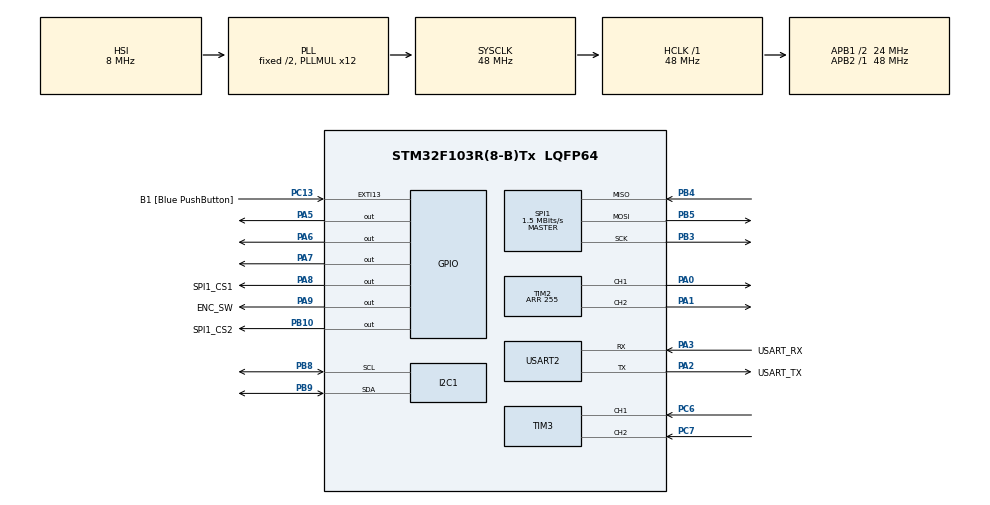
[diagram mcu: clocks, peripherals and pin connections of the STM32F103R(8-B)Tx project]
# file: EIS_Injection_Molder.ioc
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Mcu.Family=STM32F1
Mcu.Name=STM32F103R(8-B)Tx
Mcu.Package=LQFP64
NVIC.EXTI15_10_IRQn=true\:0\:0\:false\:false\:true\:true\:true\:true
NVIC.PriorityGroup=NVIC_PRIORITYGROUP_4
PA0-WKUP.Signal=S_TIM2_CH1_ETR
PA1.Signal=S_TIM2_CH2
PA13.GPIO_Label=TMS
PA13.Mode=Serial_Wire
PA13.Signal=SYS_JTMS-SWDIO
PA14.GPIO_Label=TCK
PA14.Mode=Serial_Wire
PA14.Signal=SYS_JTCK-SWCLK
PA2.GPIO_Label=USART_TX
PA2.GPIO_Mode=GPIO_MODE_AF_PP
PA2.GPIO_PuPd=GPIO_NOPULL
PA2.GPIO_Speed=GPIO_SPEED_FREQ_LOW
PA2.Mode=Asynchronous
PA2.Signal=USART2_TX
PA3.GPIO_Label=USART_RX
PA3.GPIO_Mode=GPIO_MODE_AF_PP
PA3.GPIO_PuPd=GPIO_NOPULL
PA3.GPIO_Speed=GPIO_SPEED_FREQ_LOW
PA3.Mode=Asynchronous
PA3.Signal=USART2_RX
PA5.Signal=GPIO_Output
PA6.Signal=GPIO_Output
PA7.Signal=GPIO_Output
PA8.GPIO_Label=SPI1_CS1
PA8.Signal=GPIO_Output
PA9.GPIO_Label=ENC_SW
PA9.Signal=GPIO_Output
PB10.GPIO_Label=SPI1_CS2
PB10.Signal=GPIO_Output
PB3.Mode=Full_Duplex_Master
PB3.Signal=SPI1_SCK
PB4.Mode=Full_Duplex_Master
PB4.Signal=SPI1_MISO
PB5.Mode=Full_Duplex_Master
PB5.Signal=SPI1_MOSI
PB8.Mode=I2C
PB8.Signal=I2C1_SCL
PB9.Mode=I2C
PB9.Signal=I2C1_SDA
PC13-TAMPER-RTC.GPIO_Label=B1 [Blue PushButton]
PC13-TAMPER-RTC.GPIO_PuPd=GPIO_NOPULL
PC13-TAMPER-RTC.Signal=GPXTI13
PC14-OSC32_IN.Mode=LSE-External-Oscillator
PC14-OSC32_IN.Signal=RCC_OSC32_IN
PC15-OSC32_OUT.Mode=LSE-External-Oscillator
PC15-OSC32_OUT.Signal=RCC_OSC32_OUT
PC6.Signal=S_TIM3_CH1
PC7.Signal=S_TIM3_CH2
PD0-OSC_IN.Mode=HSE-External-Clock-Source
PD0-OSC_IN.Signal=RCC_OSC_IN
PD1-OSC_OUT.Mode=HSE-External-Clock-Source
PD1-OSC_OUT.Signal=RCC_OSC_OUT
ProjectManager.HeapSize=0x200
ProjectManager.StackSize=0x400
ProjectManager.TargetToolchain=STM32CubeIDE
RCC.AHBFreq_Value=48000000
RCC.APB1CLKDivider=RCC_HCLK_DIV2
RCC.APB1Freq_Value=24000000
RCC.APB1TimFreq_Value=48000000
RCC.APB2Freq_Value=48000000
RCC.APB2TimFreq_Value=48000000
RCC.HCLKFreq_Value=48000000
RCC.PLLMUL=RCC_PLL_MUL12
RCC.RTCClockSelection=RCC_RTCCLKSOURCE_LSE
RCC.SYSCLKFreq_VALUE=48000000
RCC.SYSCLKSource=RCC_SYSCLKSOURCE_PLLCLK
RCC.USBFreq_Value=48000000
SH.S_TIM2_CH1_ETR.0=TIM2_CH1,PWM Generation1 CH1
SH.S_TIM2_CH2.0=TIM2_CH2,PWM Generation2 CH2
SH.S_TIM3_CH1.0=TIM3_CH1,Encoder_Interface
SH.S_TIM3_CH2.0=TIM3_CH2,Encoder_Interface
SPI1.BaudRatePrescaler=SPI_BAUDRATEPRESCALER_32
SPI1.CalculateBaudRate=1.5 MBits/s
SPI1.Direction=SPI_DIRECTION_2LINES
SPI1.Mode=SPI_MODE_MASTER
SPI1.VirtualType=VM_MASTER
TIM2.AutoReloadPreload=TIM_AUTORELOAD_PRELOAD_ENABLE
TIM2.Channel-PWM\ Generation1\ CH1=TIM_CHANNEL_1
TIM2.Channel-PWM\ Generation2\ CH2=TIM_CHANNEL_2
TIM2.Period=255
USART2.VirtualMode=VM_ASYNC
VP_TIM2_VS_ClockSourceINT.Mode=Internal
board=NUCLEO-F103RB

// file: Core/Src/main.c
/* USER CODE BEGIN Header */
/**
  ******************************************************************************
  * @file           : main.c
  * @brief          : Main program body
  * @author			: Tevin Poudrier
  ******************************************************************************
  * @attention
  *
  * Copyright (c) 2024 STMicroelectronics.
  * All rights reserved.
  *
  * This software is licensed under terms that can be found in the LICENSE file
  * in the root directory of this software component.
  * If no LICENSE file comes with this software, it is provided AS-IS.
  *
  ******************************************************************************
  */
/* USER CODE END Header */
#include "main.h"

/* USER CODE BEGIN Includes */
#include "encoder.h"
#include <stdio.h>
#include "LCD_I2C.h"
#include "LCD_Menu.h"
#include "LCD_Menu_Data.h"
#include "MAX31855.h"
#include <string.h>

/* USER CODE END Includes */

/* USER CODE BEGIN PTD */

typedef struct __plastic {
	char name[21]; //name can only be 20 characters long, extra byte for null character
	uint16_t nozzleTemp;
	uint16_t barrelTemp;
	uint32_t heatingTime; //heating time in ms
} Plastic_Type;

/* USER CODE END PTD */

/* USER CODE BEGIN PD */
#define LCD_ADDRESS 0x20
/* USER CODE END PD */

I2C_HandleTypeDef hi2c1;

SPI_HandleTypeDef hspi1;

TIM_HandleTypeDef htim2;
TIM_HandleTypeDef htim3;

UART_HandleTypeDef huart2;

/* USER CODE BEGIN PV */
ENC_Handle encoder;

LCD_HandleTypeDef hlcd;

MAX31855_HandleTypeDef hmax1;
MAX31855_HandleTypeDef hmax2;

/* USER CODE END PV */

void SystemClock_Config(void);
static void MX_GPIO_Init(void);
static void MX_USART2_UART_Init(void);
static void MX_I2C1_Init(void);
static void MX_SPI1_Init(void);
static void MX_TIM2_Init(void);
static void MX_TIM3_Init(void);
/* USER CODE BEGIN PFP */
uint16_t getTemperature (MAX31855_HandleTypeDef* thermocouple, uint16_t tempBuffer[], uint8_t * count, uint8_t size);
void printHomeDisplayData (uint8_t injectState, Plastic_Type* plastic);

/* USER CODE END PFP */

/* USER CODE BEGIN 0 */

//Counter increments every ms by interupts
volatile uint32_t counter = 0;

//Save counter time to create non-blocking delays
uint32_t prevCountPrintDebug;
uint32_t prevCountInjectTime;
uint32_t prevCountLED;

//Create main menu
LCD_MENU_List mainMenu;
LCD_MENU_List mainMenu2;

//Create menu items
LCD_MENU_Item homeDisplay;
LCD_MENU_Item debugMenu;
LCD_MENU_Item temperatureMenu;
LCD_MENU_Item injectControlMenu;
LCD_MENU_Item injectControlMenu2;
LCD_MENU_Item cancelInjectionMenu;
LCD_MENU_Item creditsMenu;
LCD_MENU_Item customPlasticMenu;
LCD_MENU_Item temperatureMenu2;

//Create data elements for menu
LCD_MENU_Data setNozzleTemp;
LCD_MENU_Data setBarrelTemp;
LCD_MENU_Data barrelTemp;
LCD_MENU_Data nozzleTemp;
LCD_MENU_Data heatEnable;
LCD_MENU_Data pistonEnable;
LCD_MENU_Data doorEnable;
LCD_MENU_Data ledEnable;
LCD_MENU_Data heatingSpeed;
LCD_MENU_Data injectionEnable;
LCD_MENU_Data customSetBarrelTemp;
LCD_MENU_Data customSetNozzleTemp;
LCD_MENU_Data customMeltTime;

//Create plastic types
Plastic_Type plastics [5];
Plastic_Type * plastic_HDPE = &plastics[0];
Plastic_Type* plastic_PP = &plastics[1];
Plastic_Type* plastic_PLA = &plastics[2];
Plastic_Type* plastic_ABS = &plastics[3];
Plastic_Type* plastic_custom = &plastics[4];

/* USER CODE END 0 */

int main(void)
{
  /* USER CODE BEGIN 1 */
	uint8_t MSG[100] = {'\0'};

	//Ring/Round buffer for temperature data averaging
	uint8_t thermoBufferSize = 10;
	uint16_t thermo1Buffer[10] = {0};
	uint8_t thermo1BufferCount = 0;
	uint16_t thermo2Buffer[10] = {0};
	uint8_t thermo2BufferCount = 0;

	char * hometxt[4] =
	{
			"Nozzle          /",
			"Barrel          /",
			"",
			""
	};

	char * debugTxt[4] =
	{
			"^..",
			"Piston",
			"H Door",
			""
	};

	char * temperatureTxt[4] =
	{
			"^..",
			"Set Nozzle",
			"Set Barrel",
			"Heating"
	};

	char * temperatureTxt2[4] =
	{
			"Speed (0-255)",
			"",
			"",
			""
	};

	char * injectionSelection1Txt[4] =
	{
			"^..",
			"HDPE",
			"PP",
			"PLA"
	};

	char * injectionSelection2Txt[4] =
	{
			"ABS",
			"Custom",
			"",
			""
	};

	char * cancelInjectionTxt[4] =
	{
			"Cancel Injection?",
			"Yes",
			"No",
			""
	};

	char * customPlasticTxt[4] =
	{
			"^..",
			"Nozzle:",
			"Barrel:",
			"Time (m):"
	};

	char * credits[4] =
	{
			"Tevin Poudrier",
			"Jonah Shadley",
			"Colson Miller",
			"Josiah Mart"
	};

  /* USER CODE END 1 */

  /* MCU Configuration--------------------------------------------------------*/

  /* Reset of all peripherals, Initializes the Flash interface and the Systick. */
  HAL_Init();

  /* Configure the system clock */
  SystemClock_Config();

  /* USER CODE BEGIN SysInit */
  SysTick_Config(SystemCoreClock / 1000); //set to 1ms per tick

  /* USER CODE END SysInit */

  /* Initialize all configured peripherals */
  MX_GPIO_Init();
  MX_USART2_UART_Init();
  MX_I2C1_Init();
  MX_SPI1_Init();
  MX_TIM2_Init();
  MX_TIM3_Init();
  /* USER CODE BEGIN 2 */

  //Define Plastics
  plastic_HDPE->nozzleTemp = 220;
  plastic_HDPE->barrelTemp = 210;
  plastic_HDPE->heatingTime = 1200000; // heatTime in ms
  strcpy(plastic_HDPE->name, "HDPE");

  plastic_PP->nozzleTemp = 245;
  plastic_PP->barrelTemp = 238;
  plastic_PP->heatingTime = 1200000; // heatTime in ms
  strcpy(plastic_PP->name, "PP");

  plastic_PLA->nozzleTemp = 210;
  plastic_PLA->barrelTemp = 200;
  plastic_PLA->heatingTime = 1200000; // heatTime in ms
  strcpy(plastic_PLA->name, "PLA");

  plastic_ABS->nozzleTemp = 230;
  plastic_ABS->barrelTemp = 220;
  plastic_ABS->heatingTime = 1200000; // heatTime in ms
  strcpy(plastic_ABS->name, "ABS");

  plastic_custom->nozzleTemp = 220;
  plastic_custom->barrelTemp = 210;
  plastic_custom->heatingTime = 1200000; // heatTime in ms
  strcpy(plastic_custom->name, "Custom");

  //Initalize peripherials
  ENC_Init(&encoder,  &htim3, GPIOA, GPIO_PIN_9);
  LCD_Init(&hlcd, &hi2c1, LCD_ADDRESS);
  MAX_Init(&hmax1, &hspi1, GPIO_PIN_8, GPIOA);
  MAX_Init(&hmax2, &hspi1, GPIO_PIN_10, GPIOB);
  HAL_TIM_PWM_Start(&htim2, TIM_CHANNEL_1); //Nozzle heater
  HAL_TIM_PWM_Start(&htim2, TIM_CHANNEL_2); //Barrel heater

  //Initalize Menu Lists
  LCD_MENU_ListInit(&hlcd, &mainMenu);
  LCD_MENU_ListInit(&hlcd, &mainMenu2);
  LCD_MENU_ExtendList(&mainMenu, &mainMenu2);

  //Initialize Data Elements
  LCD_MENU_DataInit(&setNozzleTemp, &hlcd);
  LCD_MENU_DataInit(&setBarrelTemp, &hlcd);
  LCD_MENU_DataInit(&nozzleTemp, &hlcd);
  LCD_MENU_DataInit(&barrelTemp, &hlcd);
  LCD_MENU_DataInit(&heatEnable, &hlcd);
  LCD_MENU_DataInit(&pistonEnable, &hlcd);
  LCD_MENU_DataInit(&doorEnable, &hlcd);
  LCD_MENU_DataInit(&ledEnable, &hlcd);
  LCD_MENU_DataInit(&injectionEnable, &hlcd);
  LCD_MENU_DataInit(&customSetBarrelTemp, &hlcd);
  LCD_MENU_DataInit(&customSetNozzleTemp, &hlcd);
  LCD_MENU_DataInit(&customMeltTime, &hlcd);
  LCD_MENU_DataInit(&heatingSpeed, &hlcd);

  //Initialize Menu Items
  LCD_MENU_ItemInit(&hlcd, &homeDisplay, "Home", hometxt, ITEM_TYPE_DISPLAY);
  LCD_MENU_ItemInit(&hlcd, &debugMenu, "Debug", debugTxt, ITEM_TYPE_CONFIG);
  LCD_MENU_ItemInit(&hlcd, &temperatureMenu, "Temperature", temperatureTxt, ITEM_TYPE_CONFIG);
  LCD_MENU_ItemInit(&hlcd, &temperatureMenu2, "Temperature", temperatureTxt2, ITEM_TYPE_CONFIG);
  LCD_MENU_ItemInit(&hlcd, &injectControlMenu, "Start Injection", injectionSelection1Txt, ITEM_TYPE_CONFIG);
  LCD_MENU_ItemInit(&hlcd, &injectControlMenu2, "Start Injection", injectionSelection2Txt, ITEM_TYPE_CONFIG);
  LCD_MENU_ItemInit(&hlcd, &cancelInjectionMenu, "CancelInjection", cancelInjectionTxt, ITEM_TYPE_CONFIG);
  LCD_MENU_ItemInit(&hlcd, &creditsMenu, "Credits", credits, ITEM_TYPE_DISPLAY);
  LCD_MENU_ItemInit(&hlcd, &customPlasticMenu, "Custom Plastic", customPlasticTxt, ITEM_TYPE_CONFIG);

  //Add data items to Debug menu
  LCD_MENU_ItemAddData(&debugMenu, &pistonEnable, 1, ITEM_ACTION_TOGGLE);
  LCD_MENU_ItemAddData(&debugMenu, &doorEnable, 2, ITEM_ACTION_TOGGLE);
  LCD_MENU_ItemSetAction(&debugMenu, 0, ITEM_ACTION_RETURN); //return to main menu

  //Add data items to temperature menu
  LCD_MENU_ExtendItem(&temperatureMenu, &temperatureMenu2);
  LCD_MENU_ItemAddData(&temperatureMenu, &setNozzleTemp, 1, ITEM_ACTION_DATA);
  LCD_MENU_ItemAddData(&temperatureMenu, &heatEnable, 3, ITEM_ACTION_TOGGLE);
  LCD_MENU_ItemAddData(&temperatureMenu, &setBarrelTemp, 2, ITEM_ACTION_DATA);
  LCD_MENU_ItemSetAction(&temperatureMenu, 0, ITEM_ACTION_RETURN);
  LCD_MENU_ItemAddData(&temperatureMenu2, &heatingSpeed, 0, ITEM_ACTION_DATA);

  //Add data items to injection menu
  LCD_MENU_ExtendItem(&injectControlMenu, &injectControlMenu2);
  LCD_MENU_ItemSetAction(&injectControlMenu, 0, ITEM_ACTION_RETURN);
  LCD_MENU_ItemSetAction(&injectControlMenu, 1, ITEM_ACTION_SELECT);
  LCD_MENU_ItemSetAction(&injectControlMenu, 2, ITEM_ACTION_SELECT);
  LCD_MENU_ItemSetAction(&injectControlMenu, 3, ITEM_ACTION_SELECT);
  LCD_MENU_ItemSetAction(&injectControlMenu2, 0, ITEM_ACTION_SELECT);
  LCD_MENU_ItemSetAction(&injectControlMenu2, 1, ITEM_ACTION_SELECT);

  //Add actions to cancel menu
  LCD_MENU_ItemSetAction(&cancelInjectionMenu, 1, ITEM_ACTION_SELECT);
  LCD_MENU_ItemSetAction(&cancelInjectionMenu, 2, ITEM_ACTION_SELECT);

  //Add actions to custom plastic menu
  LCD_MENU_ItemSetAction(&customPlasticMenu, 0, ITEM_ACTION_RETURN);
  LCD_MENU_ItemAddData(&customPlasticMenu, &customSetNozzleTemp, 1, ITEM_ACTION_DATA); //set temp
  LCD_MENU_ItemAddData(&customPlasticMenu, &customSetBarrelTemp, 2, ITEM_ACTION_DATA); // heating on/off
  LCD_MENU_ItemAddData(&customPlasticMenu, &customMeltTime, 3, ITEM_ACTION_DATA); // heating speed

  //Add menu items to main menu
  LCD_MENU_AddItemToList(&mainMenu, &homeDisplay);
  LCD_MENU_AddItemToList(&mainMenu, &injectControlMenu);
  LCD_MENU_AddItemToList(&mainMenu, &customPlasticMenu);
  LCD_MENU_AddItemToList(&mainMenu, &temperatureMenu);
  LCD_MENU_AddItemToList(&mainMenu2, &debugMenu);
  LCD_MENU_AddItemToList(&mainMenu2, &creditsMenu);

  sprintf( (char*) MSG, "EIS Injection Molding\n\r");
  HAL_UART_Transmit(&huart2, MSG, strlen( (char*) MSG), 100);

  //Initialize state machines
  uint8_t menuState = ST_MENU;
  uint8_t injectState = ST_STANDBY;
  uint8_t cancelRequest = LOW;

  //Initialize current object pointers
  LCD_MENU_List* headList = &mainMenu;
  LCD_MENU_List* currentList = headList;
  LCD_MENU_Item* currentItem = &homeDisplay;
  Plastic_Type* currentPlastic = plastic_HDPE;

  //set default temperatures
  setNozzleTemp.value = 220; //set temp to 5
  setBarrelTemp.value = 210;
  heatingSpeed.value = 210; // heat bands duty cycle 0-255
  customSetBarrelTemp.value = 200;
  customSetNozzleTemp.value = 200;
  customMeltTime.value = 20;

  LCD_MENU_PrintList (headList);

  /* USER CODE END 2 */

  /* Infinite loop */
  /* USER CODE BEGIN WHILE */
  while (1)
  {
	  //update custom plastic
	  plastic_custom->barrelTemp = customSetBarrelTemp.value;
	  plastic_custom ->nozzleTemp = customSetNozzleTemp.value;
	  plastic_custom->heatingTime = customMeltTime.value * 60 * 1000;

	  if (heatingSpeed.value > 255) {
		  heatingSpeed.value = 255;
	  }

	  //Navigate main menu
	  if (menuState == ST_MENU) {
		  //Select menu item
		  if (ENC_ReadSwitch(&encoder) == HIGH) {
			  menuState = ST_ITEM;
			  currentItem = currentList->items[currentList->cursor];
			  LCD_MENU_PrintItem(currentItem);
		  }
		  //Move cursor
		  else if (ENC_CountChange(&encoder) == TRUE) {
			  uint8_t direction = ENC_GetDirection(&encoder);
			  currentList = LCD_MENU_MoveListCursor(currentList, direction);
		  }
	  }
	  //Navigate menu item
	  else if (menuState == ST_ITEM) {
		  //print home display
		  if (currentItem == &homeDisplay) {
			  printHomeDisplayData(injectState, currentPlastic);
		  }
		  //update data on display menu item
		  else if (currentItem->type == ITEM_TYPE_DISPLAY) {
			  LCD_MENU_UpdateItemData(currentItem);
		  }

		  //Select cursor location
		  if (ENC_ReadSwitch(&encoder) == HIGH) {
			  //Return to main menu
			  if (currentItem->type == ITEM_TYPE_DISPLAY) {

				  menuState = ST_MENU;
				  LCD_MENU_PrintList (currentList);
			  }
			  //return to main menu
			  else if (currentItem->rowType[currentItem->cursor] == ITEM_ACTION_RETURN) {
				  menuState = ST_MENU;
				  LCD_MENU_PrintList (currentList);
			  }
			  //Edit data
			  else if (currentItem->rowType[currentItem->cursor] == ITEM_ACTION_DATA) {
				  menuState = ST_DATA;
			  }
			  //Toggle data
			  else if (currentItem->rowType[currentItem->cursor] == ITEM_ACTION_TOGGLE) {
				  LCD_MENU_DataToggle(currentItem->dataElement[currentItem->cursor]);
				  LCD_MENU_UpdateItemData(currentItem);
			  }
			  //Select injection profile
			  else if (currentItem->rowType[currentItem->cursor] == ITEM_ACTION_SELECT) {
				  if(currentItem == &injectControlMenu) {
					  currentPlastic = &plastics[currentItem->cursor - 1];
				  }
				  else {
					  //prevent null plastic from being selected
					  if (injectControlMenu2.cursor < 2) {
					  currentPlastic = &plastics[currentItem->cursor + 3];
					  }
				  }

				  //Start injection process
				  menuState = ST_INJECT;
				  injectState = ST_HEAT;

				  //Print home display
				  currentItem = &homeDisplay;
				  LCD_MENU_PrintItem(&homeDisplay);
			  }

		  }
		  //Move cursor
		  else if (ENC_CountChange(&encoder) == TRUE) {
			  uint8_t direction = ENC_GetDirection(&encoder);
			  currentItem = LCD_MENU_MoveItemCursor(currentItem, direction);
		  }
	  }
	  //Editing Data
	  else if (menuState == ST_DATA) {
		  LCD_SetCursor(&hlcd, 16, currentItem->cursor);
		  LCD_Print(&hlcd, ">");

		  //Stop editing data
		  if (ENC_ReadSwitch(&encoder) == HIGH) {
			  menuState = ST_ITEM;
			  LCD_SetCursor(&hlcd, 16, currentItem->cursor);
			  LCD_Print(&hlcd, " ");
		  }
		  //Increment data based on encoder direction
		  else if (ENC_CountChange(&encoder) == TRUE) {
			  LCD_MENU_DataIncrement(currentItem->dataElement[currentItem->cursor], ENC_GetDirection(&encoder));
			  LCD_MENU_UpdateItemData(currentItem);
		  }
	  }

	  /**
	   * Injection Process active
	   * Lock display on home info screen
	   * User can cancel procces by pressing encoder button and confirming
	   */
	  else if (menuState == ST_INJECT) {
		  uint8_t switchValue = ENC_ReadSwitch(&encoder);

		  //Request to cancel injection
		  if (switchValue && cancelRequest == LOW) {
			  cancelRequest = HIGH;
			  currentItem = &cancelInjectionMenu;
			  LCD_MENU_PrintItem(currentItem);
		  }
		  //Select Yes or no to cancel injection
		  else if (switchValue && cancelRequest == HIGH) {
			  //cancel
			  if (currentItem->cursor == 1) {
				  cancelRequest = LOW;
				  menuState = ST_MENU;
				  injectState = ST_STANDBY;
				  LCD_MENU_PrintList(headList);
				  heatEnable.value = LOW;
			  }
			  //do not cancel
			  else if (currentItem->cursor == 2) {
				  cancelRequest = LOW;
				  currentItem = &homeDisplay;
				  LCD_MENU_PrintItem(currentItem);
			  }

		  }
		  //Navigate cancelation menu
		  else if (cancelRequest == HIGH) {
			  if (ENC_CountChange(&encoder) == TRUE) {
				  uint8_t direction = ENC_GetDirection(&encoder);
				  currentItem = LCD_MENU_MoveItemCursor(currentItem, direction);
			  }
		  }
		  else {
			  //update display
			  printHomeDisplayData(injectState, currentPlastic);
		  }
	  }

	  //Injection Process Control
	  switch (injectState) {
	  //wating to inject
	  case ST_STANDBY:
		  injectionEnable.value = LOW;
		  prevCountInjectTime = counter;
		  break;

	  //heating
	  case ST_HEAT:
		  setNozzleTemp.value = currentPlastic->nozzleTemp;
		  setBarrelTemp.value = currentPlastic->barrelTemp;
		  heatEnable.value = HIGH;

		  //heating complete
		  if (nozzleTemp.value >= currentPlastic->nozzleTemp && barrelTemp.value >= currentPlastic->barrelTemp) {
			  injectState = ST_INSERT;
			  prevCountInjectTime = counter;

			  //turn off heat bands
			  TIM2->CCR2 = 0;
			  TIM2->CCR1 = 0;
		  }

		  else {
			  //turn off heat bands
			  TIM2->CCR2 = 0;
			  TIM2->CCR1 = 0;
		  }
		  break;

	  //insert plastc, hold door open for 10 seconds
	  case ST_INSERT:
		  doorEnable.value = HIGH;
		  if (counter - prevCountInjectTime > 10000) {
			  injectState = ST_MELTING;
			  prevCountInjectTime = counter;
			  doorEnable.value = LOW;
		  }

		  break;

	  //melting plastic
	  case ST_MELTING:
		  if (counter - prevCountInjectTime > currentPlastic->heatingTime) {
			  injectState = ST_INJECT_PLASTIC;
			  prevCountInjectTime = counter;
		  }
		  break;

	  //inject plastic
	  case ST_INJECT_PLASTIC:
		  pistonEnable.value = HIGH;
		  if (counter - prevCountInjectTime > 60000) {
			  injectState = ST_STANDBY;
			  menuState = ST_ITEM;
			  prevCountInjectTime = counter;
			  pistonEnable.value = LOW;
			  heatEnable.value = LOW;
		  }
		  break;

	  }

	  nozzleTemp.value = getTemperature(&hmax1, thermo1Buffer, &thermo1BufferCount, thermoBufferSize);
	  barrelTemp.value = getTemperature(&hmax2, thermo2Buffer, &thermo2BufferCount, thermoBufferSize);

	  //Heating
	  if (heatEnable.value == HIGH) {

		  //turn on nozzle heat bands if below set temp
		  if (nozzleTemp.value < setNozzleTemp.value) {
			  TIM2->CCR1 = (uint8_t) heatingSpeed.value;

		  }
		  //turn off nozzle heater
		  else {
			  TIM2->CCR1 = 0;
			  if (injectState == ST_STANDBY) {
				  heatEnable.value = LOW;
			  }
		  }

		  //turn on barrel heat bands if below set temp
		  if (barrelTemp.value < setBarrelTemp.value) {
			  TIM2->CCR2 = (uint8_t) heatingSpeed.value;
		  }
		  //turn off barrel heater
		  else {
			  TIM2->CCR2 = 0;

			  if (injectState == ST_STANDBY) {
				  heatEnable.value = LOW;
			  }

		  }
	  }

	  //turn off heat bands
	  else {
		  TIM2->CCR2 = 0;
		  TIM2->CCR1 = 0;
	  }

	  //Status LED
	  if (injectState != ST_STANDBY) {

		  //blink LED during injection process
		  if (counter - prevCountLED > 500) {
			  ledEnable.value = !ledEnable.value & 0x1; //toggle LED
			  prevCountLED = counter;
		  }
	  }
	  else {
		  //LED on if machine is hot
		  if (nozzleTemp.value > 40 || barrelTemp.value > 40) {
			  ledEnable.value = HIGH;
		  }
		  else {
			  ledEnable.value = LOW;
		  }
	  }

	  //Update GPIO values;
	  HAL_GPIO_WritePin(GPIOA, GPIO_PIN_5, ledEnable.value);
	  HAL_GPIO_WritePin(GPIOA, GPIO_PIN_7, doorEnable.value);
	  HAL_GPIO_WritePin(GPIOA, GPIO_PIN_6, pistonEnable.value);

	  HAL_Delay(10);

	  //Print debug messages to com port
	  if (counter - prevCountPrintDebug > 1000) {
		  if (heatEnable.value == HIGH) {
			  if (currentPlastic->nozzleTemp > nozzleTemp.value) {
				  nozzleTemp.value++;
			  }
			  if (currentPlastic->barrelTemp > barrelTemp.value) {
				  barrelTemp.value++;
			  }
		  }

		  sprintf( (char*) MSG, "----Application state: %d----\r\n", menuState);
		  HAL_UART_Transmit(&huart2, MSG, strlen( (char*) MSG), 100);

		  sprintf( (char*) MSG, "Injection state: %d\r\n", injectState);
		  HAL_UART_Transmit(&huart2, MSG, strlen( (char*) MSG), 100);

		  sprintf( (char*) MSG, "LED: %d, Door: %d, Piston: %d\r\n", ledEnable.value, doorEnable.value, pistonEnable.value);
		  HAL_UART_Transmit(&huart2, MSG, strlen( (char*) MSG), 100);

		  sprintf( (char*) MSG, "HeatEN: %d, nozzle: %d, barrel: %d, heatSpeed: %d\r\n", heatEnable.value, nozzleTemp.value, barrelTemp.value, heatingSpeed.value);
		  HAL_UART_Transmit(&huart2, MSG, strlen( (char*) MSG), 100);

		  sprintf( (char*) MSG, "Set temps, nozzle: %d, barrel: %d\r\n", currentPlastic->nozzleTemp, currentPlastic->barrelTemp);
		  HAL_UART_Transmit(&huart2, MSG, strlen( (char*) MSG), 100);

		  sprintf( (char*) MSG, "Count-prevInjectCount: %lu, wait time: %lu\r\n\n", counter - prevCountInjectTime, currentPlastic->heatingTime );
		  HAL_UART_Transmit(&huart2, MSG, strlen( (char*) MSG), 100);
		  prevCountPrintDebug = counter;
	  }

    /* USER CODE END WHILE */

  }
}

void SystemClock_Config(void)
{
  RCC_OscInitTypeDef RCC_OscInitStruct = {0};
  RCC_ClkInitTypeDef RCC_ClkInitStruct = {0};

  /** Initializes the RCC Oscillators according to the specified parameters
  * in the RCC_OscInitTypeDef structure.
  */
  RCC_OscInitStruct.OscillatorType = RCC_OSCILLATORTYPE_HSI;
  RCC_OscInitStruct.HSIState = RCC_HSI_ON;
  RCC_OscInitStruct.HSICalibrationValue = RCC_HSICALIBRATION_DEFAULT;
  RCC_OscInitStruct.PLL.PLLState = RCC_PLL_ON;
  RCC_OscInitStruct.PLL.PLLSource = RCC_PLLSOURCE_HSI_DIV2;
  RCC_OscInitStruct.PLL.PLLMUL = RCC_PLL_MUL12;
  if (HAL_RCC_OscConfig(&RCC_OscInitStruct) != HAL_OK)
  {
    Error_Handler();
  }

  /** Initializes the CPU, AHB and APB buses clocks
  */
  RCC_ClkInitStruct.ClockType = RCC_CLOCKTYPE_HCLK|RCC_CLOCKTYPE_SYSCLK
                              |RCC_CLOCKTYPE_PCLK1|RCC_CLOCKTYPE_PCLK2;
  RCC_ClkInitStruct.SYSCLKSource = RCC_SYSCLKSOURCE_PLLCLK;
  RCC_ClkInitStruct.AHBCLKDivider = RCC_SYSCLK_DIV1;
  RCC_ClkInitStruct.APB1CLKDivider = RCC_HCLK_DIV2;
  RCC_ClkInitStruct.APB2CLKDivider = RCC_HCLK_DIV1;

  if (HAL_RCC_ClockConfig(&RCC_ClkInitStruct, FLASH_LATENCY_1) != HAL_OK)
  {
    Error_Handler();
  }
}

static void MX_I2C1_Init(void)
{

  hi2c1.Instance = I2C1;
  hi2c1.Init.ClockSpeed = 100000;
  hi2c1.Init.DutyCycle = I2C_DUTYCYCLE_2;
  hi2c1.Init.OwnAddress1 = 0;
  hi2c1.Init.AddressingMode = I2C_ADDRESSINGMODE_7BIT;
  hi2c1.Init.DualAddressMode = I2C_DUALADDRESS_DISABLE;
  hi2c1.Init.OwnAddress2 = 0;
  hi2c1.Init.GeneralCallMode = I2C_GENERALCALL_DISABLE;
  hi2c1.Init.NoStretchMode = I2C_NOSTRETCH_DISABLE;
  if (HAL_I2C_Init(&hi2c1) != HAL_OK)
  {
    Error_Handler();
  }

}

static void MX_SPI1_Init(void)
{

  /* SPI1 parameter configuration*/
  hspi1.Instance = SPI1;
  hspi1.Init.Mode = SPI_MODE_MASTER;
  hspi1.Init.Direction = SPI_DIRECTION_2LINES;
  hspi1.Init.DataSize = SPI_DATASIZE_8BIT;
  hspi1.Init.CLKPolarity = SPI_POLARITY_LOW;
  hspi1.Init.CLKPhase = SPI_PHASE_1EDGE;
  hspi1.Init.NSS = SPI_NSS_SOFT;
  hspi1.Init.BaudRatePrescaler = SPI_BAUDRATEPRESCALER_32;
  hspi1.Init.FirstBit = SPI_FIRSTBIT_MSB;
  hspi1.Init.TIMode = SPI_TIMODE_DISABLE;
  hspi1.Init.CRCCalculation = SPI_CRCCALCULATION_DISABLE;
  hspi1.Init.CRCPolynomial = 10;
  if (HAL_SPI_Init(&hspi1) != HAL_OK)
  {
    Error_Handler();
  }

}

static void MX_TIM2_Init(void)
{

  TIM_ClockConfigTypeDef sClockSourceConfig = {0};
  TIM_MasterConfigTypeDef sMasterConfig = {0};
  TIM_OC_InitTypeDef sConfigOC = {0};

  htim2.Instance = TIM2;
  htim2.Init.Prescaler = 0;
  htim2.Init.CounterMode = TIM_COUNTERMODE_UP;
  htim2.Init.Period = 255;
  htim2.Init.ClockDivision = TIM_CLOCKDIVISION_DIV1;
  htim2.Init.AutoReloadPreload = TIM_AUTORELOAD_PRELOAD_ENABLE;
  if (HAL_TIM_Base_Init(&htim2) != HAL_OK)
  {
    Error_Handler();
  }
  sClockSourceConfig.ClockSource = TIM_CLOCKSOURCE_INTERNAL;
  if (HAL_TIM_ConfigClockSource(&htim2, &sClockSourceConfig) != HAL_OK)
  {
    Error_Handler();
  }
  if (HAL_TIM_PWM_Init(&htim2) != HAL_OK)
  {
    Error_Handler();
  }
  sMasterConfig.MasterOutputTrigger = TIM_TRGO_RESET;
  sMasterConfig.MasterSlaveMode = TIM_MASTERSLAVEMODE_DISABLE;
  if (HAL_TIMEx_MasterConfigSynchronization(&htim2, &sMasterConfig) != HAL_OK)
  {
    Error_Handler();
  }
  sConfigOC.OCMode = TIM_OCMODE_PWM1;
  sConfigOC.Pulse = 0;
  sConfigOC.OCPolarity = TIM_OCPOLARITY_HIGH;
  sConfigOC.OCFastMode = TIM_OCFAST_DISABLE;
  if (HAL_TIM_PWM_ConfigChannel(&htim2, &sConfigOC, TIM_CHANNEL_1) != HAL_OK)
  {
    Error_Handler();
  }
  if (HAL_TIM_PWM_ConfigChannel(&htim2, &sConfigOC, TIM_CHANNEL_2) != HAL_OK)
  {
    Error_Handler();
  }
  HAL_TIM_MspPostInit(&htim2);

}

static void MX_TIM3_Init(void)
{

  TIM_Encoder_InitTypeDef sConfig = {0};
  TIM_MasterConfigTypeDef sMasterConfig = {0};

  htim3.Instance = TIM3;
  htim3.Init.Prescaler = 0;
  htim3.Init.CounterMode = TIM_COUNTERMODE_UP;
  htim3.Init.Period = 65535;
  htim3.Init.ClockDivision = TIM_CLOCKDIVISION_DIV1;
  htim3.Init.AutoReloadPreload = TIM_AUTORELOAD_PRELOAD_DISABLE;
  sConfig.EncoderMode = TIM_ENCODERMODE_TI1;
  sConfig.IC1Polarity = TIM_ICPOLARITY_RISING;
  sConfig.IC1Selection = TIM_ICSELECTION_DIRECTTI;
  sConfig.IC1Prescaler = TIM_ICPSC_DIV1;
  sConfig.IC1Filter = 0;
  sConfig.IC2Polarity = TIM_ICPOLARITY_RISING;
  sConfig.IC2Selection = TIM_ICSELECTION_DIRECTTI;
  sConfig.IC2Prescaler = TIM_ICPSC_DIV1;
  sConfig.IC2Filter = 0;
  if (HAL_TIM_Encoder_Init(&htim3, &sConfig) != HAL_OK)
  {
    Error_Handler();
  }
  sMasterConfig.MasterOutputTrigger = TIM_TRGO_RESET;
  sMasterConfig.MasterSlaveMode = TIM_MASTERSLAVEMODE_DISABLE;
  if (HAL_TIMEx_MasterConfigSynchronization(&htim3, &sMasterConfig) != HAL_OK)
  {
    Error_Handler();
  }

}

static void MX_USART2_UART_Init(void)
{

  huart2.Instance = USART2;
  huart2.Init.BaudRate = 115200;
  huart2.Init.WordLength = UART_WORDLENGTH_8B;
  huart2.Init.StopBits = UART_STOPBITS_1;
  huart2.Init.Parity = UART_PARITY_NONE;
  huart2.Init.Mode = UART_MODE_TX_RX;
  huart2.Init.HwFlowCtl = UART_HWCONTROL_NONE;
  huart2.Init.OverSampling = UART_OVERSAMPLING_16;
  if (HAL_UART_Init(&huart2) != HAL_OK)
  {
    Error_Handler();
  }

}

static void MX_GPIO_Init(void)
{
  GPIO_InitTypeDef GPIO_InitStruct = {0};

  /* GPIO Ports Clock Enable */
  __HAL_RCC_GPIOC_CLK_ENABLE();
  __HAL_RCC_GPIOD_CLK_ENABLE();
  __HAL_RCC_GPIOA_CLK_ENABLE();
  __HAL_RCC_GPIOB_CLK_ENABLE();

  /*Configure GPIO pin Output Level */
  HAL_GPIO_WritePin(GPIOA, GPIO_PIN_5|GPIO_PIN_6|GPIO_PIN_7|SPI1_CS1_Pin
                          |ENC_SW_Pin, GPIO_PIN_RESET);

  /*Configure GPIO pin Output Level */
  HAL_GPIO_WritePin(SPI1_CS2_GPIO_Port, SPI1_CS2_Pin, GPIO_PIN_RESET);

  /*Configure GPIO pin : B1_Pin */
  GPIO_InitStruct.Pin = B1_Pin;
  GPIO_InitStruct.Mode = GPIO_MODE_IT_RISING;
  GPIO_InitStruct.Pull = GPIO_NOPULL;
  HAL_GPIO_Init(B1_GPIO_Port, &GPIO_InitStruct);

  /*Configure GPIO pins : PA5 PA6 PA7 SPI1_CS1_Pin
                           ENC_SW_Pin */
  GPIO_InitStruct.Pin = GPIO_PIN_5|GPIO_PIN_6|GPIO_PIN_7|SPI1_CS1_Pin
                          |ENC_SW_Pin;
  GPIO_InitStruct.Mode = GPIO_MODE_OUTPUT_PP;
  GPIO_InitStruct.Pull = GPIO_NOPULL;
  GPIO_InitStruct.Speed = GPIO_SPEED_FREQ_LOW;
  HAL_GPIO_Init(GPIOA, &GPIO_InitStruct);

  /*Configure GPIO pin : SPI1_CS2_Pin */
  GPIO_InitStruct.Pin = SPI1_CS2_Pin;
  GPIO_InitStruct.Mode = GPIO_MODE_OUTPUT_PP;
  GPIO_InitStruct.Pull = GPIO_NOPULL;
  GPIO_InitStruct.Speed = GPIO_SPEED_FREQ_LOW;
  HAL_GPIO_Init(SPI1_CS2_GPIO_Port, &GPIO_InitStruct);

  /* EXTI interrupt init*/
  HAL_NVIC_SetPriority(EXTI15_10_IRQn, 0, 0);
  HAL_NVIC_EnableIRQ(EXTI15_10_IRQn);

}

/* USER CODE BEGIN 4 */
uint16_t getTemperature (MAX31855_HandleTypeDef* thermocouple, uint16_t tempBuffer[], uint8_t * count, uint8_t size)
{

	//Get measurement
	tempBuffer[*count] = MAX_GetCelcius(thermocouple);
	*count = (*count + 1) % size;

	//Calculate total
	uint32_t total = 0;
    for (uint8_t i = 0; i < size; i++)
    {
	    total += tempBuffer[i];
    }

    //Calculate and return average
    uint16_t average = total / size;
    return average;
}

void printHomeDisplayData (uint8_t injectState, Plastic_Type* plastic) {
	char string[21] = {0};

	//print nozzle set temp data
	LCD_SetCursor(&hlcd, 17, 0);
	snprintf(string, 21, "%03d", setNozzleTemp.value);
	LCD_Print(&hlcd, string);

	//print nozzle current temp data
	LCD_SetCursor(&hlcd, 13, 0);
	snprintf(string, 21, "%03d", nozzleTemp.value);
	LCD_Print(&hlcd, string);

	//print barrel set temp data
	LCD_SetCursor(&hlcd, 17, 1);
	snprintf(string, 21, "%03d", setBarrelTemp.value);
	LCD_Print(&hlcd, string);

	//print barrel current temp data
	LCD_SetCursor(&hlcd, 13, 1);
	snprintf(string, 21, "%03d", barrelTemp.value);
	LCD_Print(&hlcd, string);

	if (injectState != ST_STANDBY) {
		LCD_SetCursor(&hlcd, 0, 2);
		snprintf(string, 21, "%s", plastic->name);
		LCD_Print(&hlcd, string);

		if (injectState == ST_HEAT) {
			LCD_SetCursor(&hlcd, 0, 3);
			snprintf(string, 21, "heating");
			LCD_Print(&hlcd, string);
		}
		else if (injectState == ST_MELTING) {
			LCD_SetCursor(&hlcd, 0, 3);
			snprintf(string, 21, "Timer: %04lu",  (plastic->heatingTime - (counter - prevCountInjectTime)) / 1000 );
			LCD_Print(&hlcd, string);
		}
		else if (injectState == ST_INJECT_PLASTIC) {
			LCD_SetCursor(&hlcd, 0, 3);
			snprintf(string, 21, "Injecting           ");
			LCD_Print(&hlcd, string);
		}

	}
	else {

		LCD_SetCursor(&hlcd, 0, 2);
		snprintf(string, 21, "                 ");
		LCD_Print(&hlcd, string);

		LCD_SetCursor(&hlcd, 0, 3);
		snprintf(string, 21, "Standby      ");
		LCD_Print(&hlcd, string);
	}
}
/* USER CODE END 4 */

void Error_Handler(void)
{
  __disable_irq();
  while (1)
  {
  }
}
